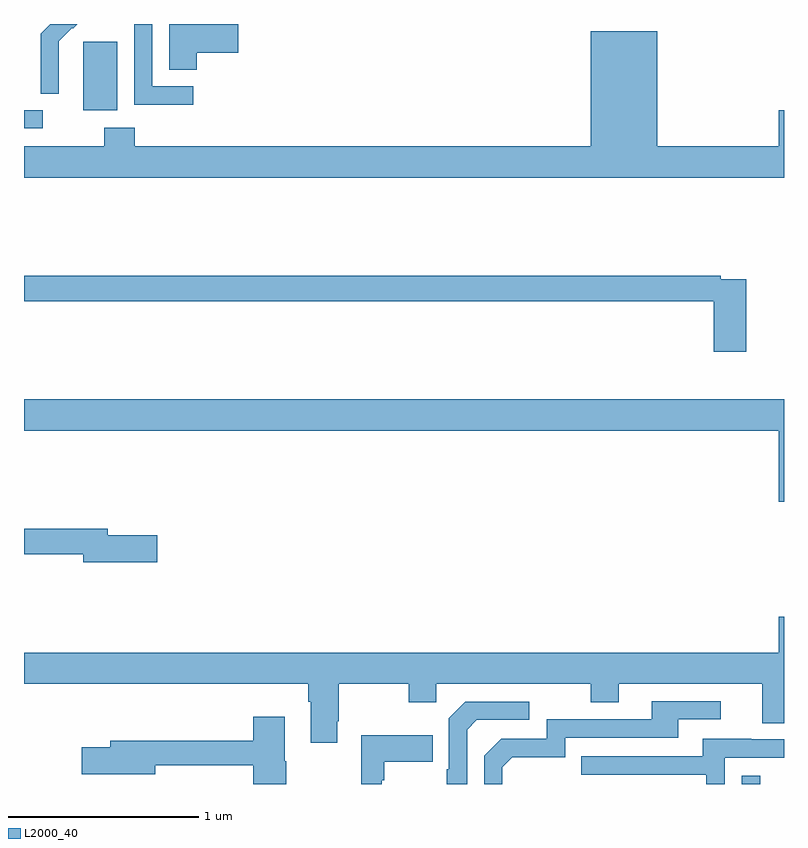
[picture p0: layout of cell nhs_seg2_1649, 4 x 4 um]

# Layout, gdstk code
import gdstk
lib = gdstk.Library(unit=1e-6, precision=1e-09)
def R(c, l, rs):  # rectangles x0, y0, x1, y1
    for r in rs: c.add(gdstk.rectangle(r[:2], r[2:], *l))
def P(c, l, *ps):  # polygons
    for p in ps: c.add(gdstk.Polygon(p, *l))
L2000_40 = (2000, 40)

nhs_seg2_1649 = lib.new_cell('nhs_seg2_1649')
R(nhs_seg2_1649, L2000_40, [(200.778,621.8,200.875,621.844), (197,625.251,197.098,625.347), (197.312,625.346,197.491,625.707)])
P(nhs_seg2_1649, L2000_40, [(197.184,625.586),(197.183,625.586),(197.183,625.709),(197.253,625.779),(197.256,625.776),(197.28,625.8),(197.138,625.8),(197.088,625.75),(197.088,625.432),(197.184,625.432)],
  [(197.89,625.473),(197.676,625.473),(197.676,625.8),(197.58,625.8),(197.58,625.375),(197.89,625.375)],
  [(197.909,625.649),(198.127,625.649),(198.127,625.8),(197.765,625.8),(197.765,625.558),(197.909,625.558)],
  [(201,625.345),(200.972,625.345),(200.972,625.156),(200.332,625.156),(200.332,625.762),(199.982,625.762),(199.982,625.156),(197.582,625.156),(197.582,625.255),(197.422,625.255),(197.422,625.156),(197,625.156),(197,624.992),(201,624.992)],
  [(200.8,624.456),(200.666,624.456),(200.666,624.476),(197,624.476),(197,624.34),(200.63,624.34),(200.63,624.075),(200.8,624.075)],
  [(201,623.824),(197,623.824),(197,623.66),(200.972,623.66),(200.972,623.286),(201,623.286)],
  [(197.701,623.108),(197.44,623.108),(197.44,623.144),(197,623.144),(197,623.008),(197.312,623.008),(197.312,622.966),(197.701,622.966)],
  [(198.649,622.129),(198.657,622.129),(198.657,622.328),(199.024,622.328),(199.024,622.229),(199.17,622.229),(199.17,622.328),(199.984,622.328),(199.984,622.229),(200.131,622.229),(200.131,622.328),(200.885,622.328),(200.885,622.12),(201,622.12),(201,622.681),(200.972,622.681),(200.972,622.492),(197,622.492),(197,622.328),(198.497,622.328),(198.497,622.232),(198.509,622.232),(198.509,622.017),(198.649,622.017)],
  [(199.518,621.888),(199.571,621.941),(199.848,621.941),(199.848,622.044),(200.443,622.044),(200.443,622.14),(200.668,622.14),(200.668,622.236),(200.303,622.236),(200.303,622.14),(199.752,622.14),(199.752,622.038),(199.512,622.038),(199.422,621.948),(199.422,621.8),(199.518,621.8)],
  [(199.332,622.086),(199.383,622.137),(199.66,622.137),(199.66,622.233),(199.323,622.233),(199.236,622.146),(199.236,621.877),(199.224,621.877),(199.224,621.8),(199.332,621.8)],
  [(198.381,621.921),(198.373,621.921),(198.373,622.153),(198.206,622.153),(198.206,622.027),(197.453,622.027),(197.453,621.993),(197.304,621.993),(197.304,621.851),(197.692,621.851),(197.692,621.898),(198.206,621.898),(198.206,621.8),(198.381,621.8)],
  [(198.882,621.821),(198.895,621.821),(198.895,621.917),(199.151,621.917),(199.151,622.057),(198.774,622.057),(198.774,621.8),(198.882,621.8)],
  [(200.688,621.939),(201,621.939),(201,622.035),(200.827,622.035),(200.827,622.039),(200.573,622.039),(200.573,621.945),(199.933,621.945),(199.933,621.849),(200.592,621.849),(200.592,621.8),(200.688,621.8)])

lib.write_gds('nhs_seg2_1649.gds')
